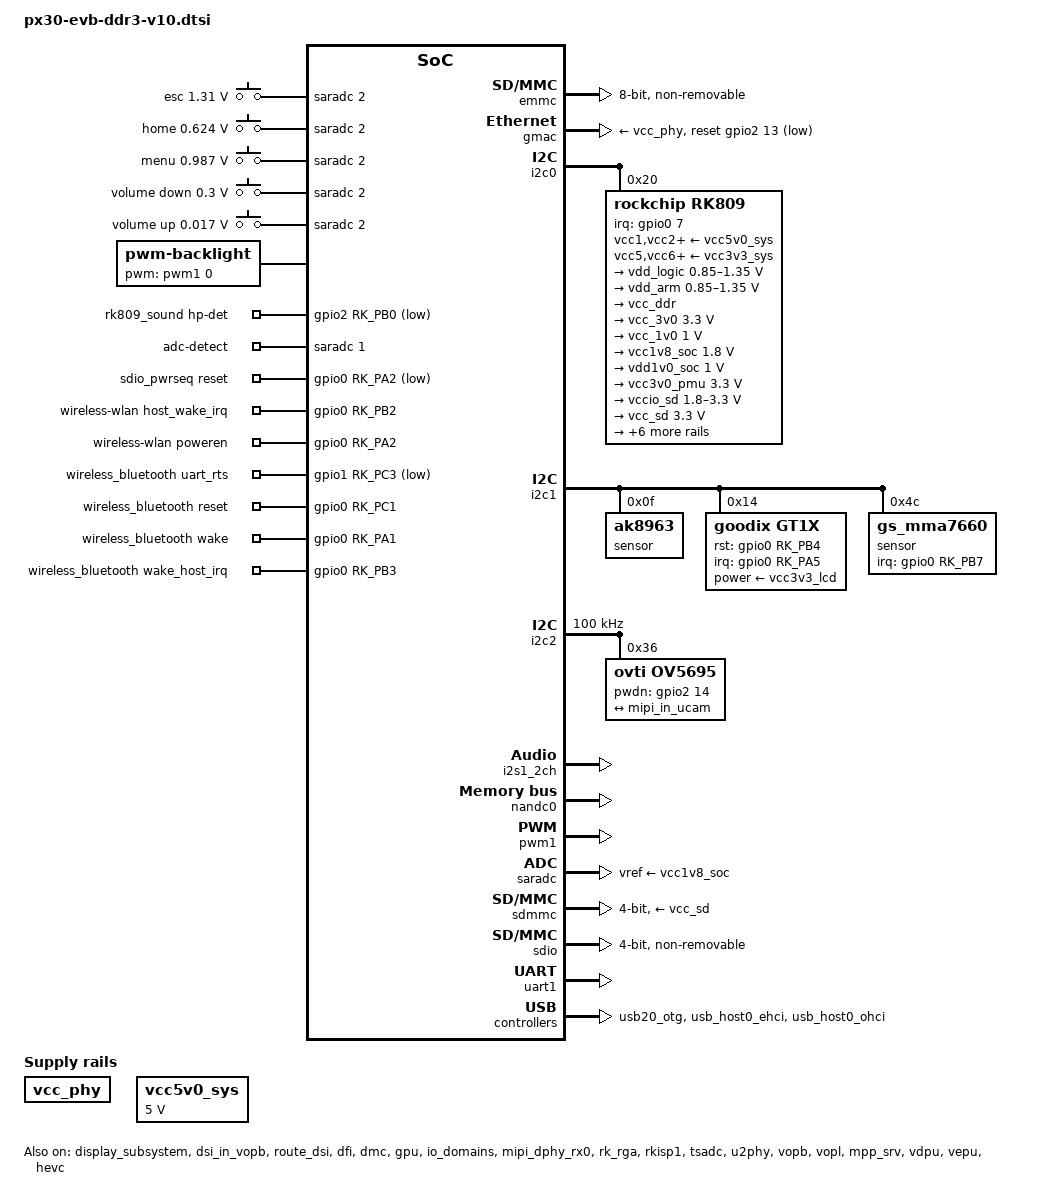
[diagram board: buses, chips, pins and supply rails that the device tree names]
// SPDX-License-Identifier: (GPL-2.0+ OR MIT)
/*
 * Copyright (c) 2017-2019 Fuzhou Rockchip Electronics Co., Ltd
 */

#include <dt-bindings/gpio/gpio.h>
#include <dt-bindings/pinctrl/rockchip.h>
#include <dt-bindings/input/input.h>
#include <dt-bindings/display/drm_mipi_dsi.h>
#include <dt-bindings/sensor-dev.h>

/ {
	adc-keys {
		compatible = "adc-keys";
		io-channels = <&saradc 2>;
		io-channel-names = "buttons";
		poll-interval = <100>;
		keyup-threshold-microvolt = <1800000>;

		esc-key {
			linux,code = <KEY_ESC>;
			label = "esc";
			press-threshold-microvolt = <1310000>;
		};

		home-key {
			linux,code = <KEY_HOME>;
			label = "home";
			press-threshold-microvolt = <624000>;
		};

		menu-key {
			linux,code = <KEY_MENU>;
			label = "menu";
			press-threshold-microvolt = <987000>;
		};

		vol-down-key {
			linux,code = <KEY_VOLUMEDOWN>;
			label = "volume down";
			press-threshold-microvolt = <300000>;
		};

		vol-up-key {
			linux,code = <KEY_VOLUMEUP>;
			label = "volume up";
			press-threshold-microvolt = <17000>;
		};
	};

	backlight: backlight {
		compatible = "pwm-backlight";
		pwms = <&pwm1 0 25000 0>;
		brightness-levels = <
			  0   1   2   3   4   5   6   7
			  8   9  10  11  12  13  14  15
			 16  17  18  19  20  21  22  23
			 24  25  26  27  28  29  30  31
			 32  33  34  35  36  37  38  39
			 40  41  42  43  44  45  46  47
			 48  49  50  51  52  53  54  55
			 56  57  58  59  60  61  62  63
			 64  65  66  67  68  69  70  71
			 72  73  74  75  76  77  78  79
			 80  81  82  83  84  85  86  87
			 88  89  90  91  92  93  94  95
			 96  97  98  99 100 101 102 103
			104 105 106 107 108 109 110 111
			112 113 114 115 116 117 118 119
			120 121 122 123 124 125 126 127
			128 129 130 131 132 133 134 135
			136 137 138 139 140 141 142 143
			144 145 146 147 148 149 150 151
			152 153 154 155 156 157 158 159
			160 161 162 163 164 165 166 167
			168 169 170 171 172 173 174 175
			176 177 178 179 180 181 182 183
			184 185 186 187 188 189 190 191
			192 193 194 195 196 197 198 199
			200 201 202 203 204 205 206 207
			208 209 210 211 212 213 214 215
			216 217 218 219 220 221 222 223
			224 225 226 227 228 229 230 231
			232 233 234 235 236 237 238 239
			240 241 242 243 244 245 246 247
			248 249 250 251 252 253 254 255>;
		default-brightness-level = <200>;
	};

	charge-animation {
		compatible = "rockchip,uboot-charge";
		rockchip,uboot-charge-on = <0>;
		rockchip,android-charge-on = <1>;
		rockchip,uboot-low-power-voltage = <3500>;
		rockchip,screen-on-voltage = <3600>;
		status = "okay";
	};

	rk809_sound: rk809-sound {
		status = "okay";
		compatible = "rockchip,multicodecs-card";
		rockchip,card-name = "rockchip-rk809";
		hp-det-gpio = <&gpio2 RK_PB0 GPIO_ACTIVE_LOW>;
		io-channels = <&saradc 1>;
		io-channel-names = "adc-detect";
		keyup-threshold-microvolt = <1800000>;
		poll-interval = <100>;
		rockchip,format = "i2s";
		rockchip,mclk-fs = <256>;
		rockchip,cpu = <&i2s1_2ch>;
		rockchip,codec = <&rk809_codec>;
		pinctrl-names = "default";
		pinctrl-0 = <&hp_det>;
		play-pause-key {
			label = "playpause";
			linux,code = <KEY_PLAYPAUSE>;
			press-threshold-microvolt = <2000>;
		};
	};

	sdio_pwrseq: sdio-pwrseq {
		compatible = "mmc-pwrseq-simple";
		/*clocks = <&rk809 1>;*/
		/*clock-names = "ext_clock";*/
		pinctrl-names = "default";
		pinctrl-0 = <&wifi_enable_h>;

		/*
		 * On the module itself this is one of these (depending
		 * on the actual card populated):
		 * - SDIO_RESET_L_WL_REG_ON
		 * - PDN (power down when low)
		 */
		reset-gpios = <&gpio0 RK_PA2 GPIO_ACTIVE_LOW>; /* GPIO3_A4 */
	};

	test-power {
		status = "okay";
	};

	vcc_phy: vcc-phy-regulator {
		compatible = "regulator-fixed";
		regulator-name = "vcc_phy";
		regulator-always-on;
		regulator-boot-on;
	};

	vcc5v0_sys: vccsys {
		compatible = "regulator-fixed";
		regulator-name = "vcc5v0_sys";
		regulator-always-on;
		regulator-boot-on;
		regulator-min-microvolt = <5000000>;
		regulator-max-microvolt = <5000000>;
	};

	wireless-wlan {
		compatible = "wlan-platdata";
		wifi_chip_type = "AP6210";
		WIFI,host_wake_irq = <&gpio0 RK_PB2 GPIO_ACTIVE_HIGH>;
		WIFI,poweren_gpio = <&gpio0 RK_PA2 GPIO_ACTIVE_HIGH>;
		status = "okay";
	};

	wireless_bluetooth: wireless-bluetooth {
		compatible = "bluetooth-platdata";
		clocks = <&rk809 1>;
		clock-names = "ext_clock";
		uart_rts_gpios = <&gpio1 RK_PC3 GPIO_ACTIVE_LOW>;
		pinctrl-names = "default","rts_gpio";
		pinctrl-0 = <&uart1_rts>;
		pinctrl-1 = <&uart1_rts_gpio>;
		BT,reset_gpio = <&gpio0 RK_PC1 GPIO_ACTIVE_HIGH>;
		BT,wake_gpio = <&gpio0 RK_PA1 GPIO_ACTIVE_HIGH>;
		BT,wake_host_irq = <&gpio0 RK_PB3 GPIO_ACTIVE_HIGH>;
		status = "okay";
	};
};

&display_subsystem {
	status = "okay";
};

&dsi_in_vopb {
	status = "okay";
};

&dsi_in_vopl {
	status = "disabled";
};

&route_dsi {
	connect = <&vopb_out_dsi>;
	status = "okay";
};

&bus_apll {
	bus-supply = <&vdd_logic>;
	status = "okay";
};

&cpu0 {
	cpu-supply = <&vdd_arm>;
};

&dfi {
	status = "okay";
};

&dmc {
	center-supply = <&vdd_logic>;
	status = "okay";
};

&emmc {
	bus-width = <8>;
	cap-mmc-highspeed;
	mmc-hs200-1_8v;
	no-sdio;
	no-sd;
	disable-wp;
	non-removable;
	num-slots = <1>;
	status = "okay";
};

&gmac {
	phy-supply = <&vcc_phy>;
	clock_in_out = "input";
	assigned-clocks = <&cru SCLK_GMAC>;
	assigned-clock-parents = <&gmac_clkin>;
	pinctrl-names = "default";
	pinctrl-0 = <&rmii_pins &mac_refclk>;
	snps,reset-gpio = <&gpio2 13 GPIO_ACTIVE_LOW>;
	snps,reset-active-low;
	snps,reset-delays-us = <0 50000 50000>;
	status = "okay";
};

&gpu {
	mali-supply = <&vdd_logic>;
	status = "okay";
};

&i2c0 {
	status = "okay";

	rk809: pmic@20 {
		compatible = "rockchip,rk809";
		reg = <0x20>;
		interrupt-parent = <&gpio0>;
		interrupts = <7 IRQ_TYPE_LEVEL_LOW>;
		pinctrl-names = "default", "pmic-sleep",
				"pmic-power-off", "pmic-reset";
		pinctrl-0 = <&pmic_int>;
		pinctrl-1 = <&soc_slppin_slp>, <&rk817_slppin_slp>;
		pinctrl-2 = <&soc_slppin_gpio>, <&rk817_slppin_pwrdn>;
		pinctrl-3 = <&soc_slppin_rst>, <&rk817_slppin_rst>;
		rockchip,system-power-controller;
		wakeup-source;
		#clock-cells = <1>;
		clock-output-names = "rk808-clkout1", "rk808-clkout2";
		//fb-inner-reg-idxs = <2>;
		/* 1: rst regs (default in codes), 0: rst the pmic */
		pmic-reset-func = <1>;

		vcc1-supply = <&vcc5v0_sys>;
		vcc2-supply = <&vcc5v0_sys>;
		vcc3-supply = <&vcc5v0_sys>;
		vcc4-supply = <&vcc5v0_sys>;
		vcc5-supply = <&vcc3v3_sys>;
		vcc6-supply = <&vcc3v3_sys>;
		vcc7-supply = <&vcc3v3_sys>;
		vcc8-supply = <&vcc3v3_sys>;
		vcc9-supply = <&vcc5v0_sys>;

		pwrkey {
			status = "okay";
		};

		pinctrl_rk8xx: pinctrl_rk8xx {
			gpio-controller;
			#gpio-cells = <2>;

			rk817_slppin_null: rk817_slppin_null {
				pins = "gpio_slp";
				function = "pin_fun0";
			};

			rk817_slppin_slp: rk817_slppin_slp {
				pins = "gpio_slp";
				function = "pin_fun1";
			};

			rk817_slppin_pwrdn: rk817_slppin_pwrdn {
				pins = "gpio_slp";
				function = "pin_fun2";
			};

			rk817_slppin_rst: rk817_slppin_rst {
				pins = "gpio_slp";
				function = "pin_fun3";
			};
		};

		regulators {
			vdd_logic: DCDC_REG1 {
				regulator-always-on;
				regulator-boot-on;
				regulator-min-microvolt = <850000>;
				regulator-max-microvolt = <1350000>;
				regulator-ramp-delay = <6001>;
				regulator-initial-mode = <0x2>;
				regulator-name = "vdd_logic";
				regulator-state-mem {
					regulator-on-in-suspend;
					regulator-suspend-microvolt = <950000>;
				};
			};

			vdd_arm: DCDC_REG2 {
				regulator-always-on;
				regulator-boot-on;
				regulator-min-microvolt = <850000>;
				regulator-max-microvolt = <1350000>;
				regulator-ramp-delay = <6001>;
				regulator-initial-mode = <0x2>;
				regulator-name = "vdd_arm";
				regulator-state-mem {
					regulator-off-in-suspend;
					regulator-suspend-microvolt = <950000>;
				};
			};

			vcc_ddr: DCDC_REG3 {
				regulator-always-on;
				regulator-boot-on;
				regulator-name = "vcc_ddr";
				regulator-initial-mode = <0x2>;
				regulator-state-mem {
					regulator-on-in-suspend;
				};
			};

			vcc_3v0: DCDC_REG4 {
				regulator-always-on;
				regulator-boot-on;
				regulator-min-microvolt = <3300000>;
				regulator-max-microvolt = <3300000>;
				regulator-initial-mode = <0x2>;
				regulator-name = "vcc_3v0";
				regulator-state-mem {
					regulator-on-in-suspend;
					regulator-suspend-microvolt = <3300000>;
				};
			};

			vcc_1v0: LDO_REG1 {
				regulator-always-on;
				regulator-boot-on;
				regulator-min-microvolt = <1000000>;
				regulator-max-microvolt = <1000000>;
				regulator-name = "vcc_1v0";
				regulator-state-mem {
					regulator-on-in-suspend;
					regulator-suspend-microvolt = <1000000>;
				};
			};

			vcc1v8_soc: LDO_REG2 {
				regulator-always-on;
				regulator-boot-on;
				regulator-min-microvolt = <1800000>;
				regulator-max-microvolt = <1800000>;

				regulator-name = "vcc1v8_soc";
				regulator-state-mem {
					regulator-on-in-suspend;
					regulator-suspend-microvolt = <1800000>;
				};
			};

			vdd1v0_soc: LDO_REG3 {
				regulator-always-on;
				regulator-boot-on;
				regulator-min-microvolt = <1000000>;
				regulator-max-microvolt = <1000000>;

				regulator-name = "vcc1v0_soc";
				regulator-state-mem {
					regulator-on-in-suspend;
					regulator-suspend-microvolt = <1000000>;
				};
			};

			vcc3v0_pmu: LDO_REG4 {
				regulator-always-on;
				regulator-boot-on;
				regulator-min-microvolt = <3300000>;
				regulator-max-microvolt = <3300000>;

				regulator-name = "vcc3v0_pmu";
				regulator-state-mem {
					regulator-on-in-suspend;
					regulator-suspend-microvolt = <3300000>;

				};
			};

			vccio_sd: LDO_REG5 {
				regulator-always-on;
				regulator-boot-on;
				regulator-min-microvolt = <1800000>;
				regulator-max-microvolt = <3300000>;

				regulator-name = "vccio_sd";
				regulator-state-mem {
					regulator-on-in-suspend;
					regulator-suspend-microvolt = <3300000>;
				};
			};

			vcc_sd: LDO_REG6 {
				regulator-min-microvolt = <3300000>;
				regulator-max-microvolt = <3300000>;

				regulator-name = "vcc_sd";
				regulator-state-mem {
					regulator-on-in-suspend;
					regulator-suspend-microvolt = <3300000>;

				};
			};

			vcc2v8_dvp: LDO_REG7 {
				regulator-always-on;
				regulator-boot-on;
				regulator-min-microvolt = <2800000>;
				regulator-max-microvolt = <2800000>;

				regulator-name = "vcc2v8_dvp";
				regulator-state-mem {
					regulator-off-in-suspend;
					regulator-suspend-microvolt = <2800000>;
				};
			};

			vcc1v8_dvp: LDO_REG8 {
				regulator-always-on;
				regulator-boot-on;
				regulator-min-microvolt = <1800000>;
				regulator-max-microvolt = <1800000>;

				regulator-name = "vcc1v8_dvp";
				regulator-state-mem {
					regulator-on-in-suspend;
					regulator-suspend-microvolt = <1800000>;
				};
			};

			vdd1v5_dvp: LDO_REG9 {
				regulator-always-on;
				regulator-boot-on;
				regulator-min-microvolt = <1500000>;
				regulator-max-microvolt = <1500000>;

				regulator-name = "vdd1v5_dvp";
				regulator-state-mem {
					regulator-off-in-suspend;
					regulator-suspend-microvolt = <1500000>;
				};
			};

			vcc3v3_sys: DCDC_REG5 {
				regulator-always-on;
				regulator-boot-on;
				regulator-min-microvolt = <3300000>;
				regulator-max-microvolt = <3300000>;
				regulator-name = "vcc3v3_sys";
				regulator-state-mem {
					regulator-on-in-suspend;
					regulator-suspend-microvolt = <3300000>;
				};
			};

			vcc5v0_host: SWITCH_REG2 {
				regulator-always-on;
				regulator-boot-on;
				regulator-name = "vcc5v0_host";
			};

			vcc3v3_lcd: SWITCH_REG1 {
				regulator-boot-on;
				regulator-name = "vcc3v3_lcd";
			};
		};

		rk809_codec: codec {
			#sound-dai-cells = <0>;
			compatible = "rockchip,rk809-codec", "rockchip,rk817-codec";
			clocks = <&cru SCLK_I2S1_OUT>;
			clock-names = "mclk";
			pinctrl-names = "default";
			pinctrl-0 = <&i2s1_2ch_mclk>;
			hp-volume = <20>;
			spk-volume = <3>;
			status = "okay";
		};
	};
};

&i2c1 {
	status = "okay";

	sensor@f {
		status = "okay";
		compatible = "ak8963";
		reg = <0x0f>;
		type = <SENSOR_TYPE_COMPASS>;
		irq_enable = <0>;
		poll_delay_ms = <30>;
		layout = <1>;
		reprobe_en = <1>;
	};

	gt1x: gt1x@14 {
		compatible = "goodix,gt1x";
		reg = <0x14>;
		power-supply = <&vcc3v3_lcd>;
		goodix,rst-gpio = <&gpio0 RK_PB4 GPIO_ACTIVE_HIGH>;
		goodix,irq-gpio = <&gpio0 RK_PA5 IRQ_TYPE_LEVEL_LOW>;
	};

	sensor@4c {
		status = "okay";
		compatible = "gs_mma7660";
		reg = <0x4c>;
		type = <SENSOR_TYPE_ACCEL>;
		irq-gpio = <&gpio0 RK_PB7 IRQ_TYPE_LEVEL_LOW>;
		irq_enable = <0>;
		poll_delay_ms = <30>;
		layout = <8>;
		reprobe_en = <1>;
	};
};

&i2c2 {
	status = "okay";

	clock-frequency = <100000>;

	/* These are relatively safe rise/fall times; TODO: measure */
	i2c-scl-falling-time-ns = <50>;
	i2c-scl-rising-time-ns = <300>;

	ov5695: ov5695@36 {
		compatible = "ovti,ov5695";
		reg = <0x36>;
		clocks = <&cru SCLK_CIF_OUT>;
		clock-names = "xvclk";
		/*reset-gpios = <&gpio2 14 GPIO_ACTIVE_HIGH>;*/
		pwdn-gpios = <&gpio2 14 GPIO_ACTIVE_HIGH>;
		pinctrl-names = "default";
		pinctrl-0 = <&cif_clkout_m0>;
		rockchip,camera-module-index = <0>;
		rockchip,camera-module-facing = "back";
		rockchip,camera-module-name = "TongJu";
		rockchip,camera-module-lens-name = "CHT842-MD";
		port {
			ucam_out: endpoint {
				remote-endpoint = <&mipi_in_ucam>;
				data-lanes = <1 2>;
			};
		};
	};
};

&i2s1_2ch {
	status = "okay";
	#sound-dai-cells = <0>;
};

&io_domains {
	status = "okay";

	vccio1-supply = <&vcc1v8_soc>;
	vccio2-supply = <&vccio_sd>;
	vccio3-supply = <&vcc_3v0>;
	vccio4-supply = <&vcc3v0_pmu>;
	vccio5-supply = <&vcc_3v0>;
};

&isp_mmu {
	status = "okay";
};

&mipi_dphy_rx0 {
	status = "okay";

	ports {
		#address-cells = <1>;
		#size-cells = <0>;

		port@0 {
			reg = <0>;
			#address-cells = <1>;
			#size-cells = <0>;

			mipi_in_ucam: endpoint@1 {
				reg = <1>;
				remote-endpoint = <&ucam_out>;
				data-lanes = <1 2>;
			};
		};

		port@1 {
			reg = <1>;
			#address-cells = <1>;
			#size-cells = <0>;

			dphy_rx0_out: endpoint@0 {
				reg = <0>;
				remote-endpoint = <&isp0_mipi_in>;
			};
		};
	};
};

&nandc0 {
	status = "okay";
};

&pinctrl {
	headphone {
		hp_det: hp-det {
			rockchip,pins = <2 RK_PB0 RK_FUNC_GPIO &pcfg_pull_down>;
		};
	};

	pmic {
		pmic_int: pmic_int {
			rockchip,pins =
				<0 RK_PA7 RK_FUNC_GPIO &pcfg_pull_up>;
		};

		soc_slppin_gpio: soc_slppin_gpio {
			rockchip,pins =
				<0 RK_PA4 RK_FUNC_GPIO &pcfg_output_low>;
		};

		soc_slppin_slp: soc_slppin_slp {
			rockchip,pins =
				<0 RK_PA4 1 &pcfg_pull_none>;
		};

		soc_slppin_rst: soc_slppin_rst {
			rockchip,pins =
				<0 RK_PA4 2 &pcfg_pull_none>;
		};
	};

	sdio-pwrseq {
		wifi_enable_h: wifi-enable-h {
			rockchip,pins = <0 RK_PA2 RK_FUNC_GPIO &pcfg_pull_none>;
		};
	};
};

&pmu_io_domains {
	status = "okay";

	pmuio1-supply = <&vcc3v0_pmu>;
	pmuio2-supply = <&vcc3v0_pmu>;
};

&pwm1 {
	status = "okay";
};

&rk_rga {
	status = "okay";
};

&rkisp1 {
	status = "okay";

	port {
		#address-cells = <1>;
		#size-cells = <0>;

		isp0_mipi_in: endpoint@0 {
			reg = <0>;
			remote-endpoint = <&dphy_rx0_out>;
		};
	};
};

&rockchip_suspend {
	status = "okay";
	rockchip,sleep-debug-en = <1>;
};

&saradc {
	status = "okay";
	vref-supply = <&vcc1v8_soc>;
};

&sdmmc {
	bus-width = <4>;
	cap-mmc-highspeed;
	cap-sd-highspeed;
	no-sdio;
	no-mmc;
	card-detect-delay = <800>;
	ignore-pm-notify;
	/*cd-gpios = <&gpio2 4 GPIO_ACTIVE_HIGH>; [> CD GPIO <]*/
	sd-uhs-sdr12;
	sd-uhs-sdr25;
	sd-uhs-sdr50;
	sd-uhs-sdr104;
	vqmmc-supply = <&vccio_sd>;
	vmmc-supply = <&vcc_sd>;
	status = "okay";
};

&sdio {
	bus-width = <4>;
	cap-sd-highspeed;
	no-sd;
	no-mmc;
	ignore-pm-notify;
	keep-power-in-suspend;
	non-removable;
	mmc-pwrseq = <&sdio_pwrseq>;
	sd-uhs-sdr104;
	status = "okay";
};

&tsadc {
	pinctrl-names = "gpio", "otpout";
	pinctrl-0 = <&tsadc_otp_pin>;
	pinctrl-1 = <&tsadc_otp_out>;
	status = "okay";
};

&uart1 {
	pinctrl-names = "default";
	pinctrl-0 = <&uart1_xfer &uart1_cts>;
	status = "okay";
};

&u2phy {
	status = "okay";

	u2phy_host: host-port {
		status = "okay";
	};

	u2phy_otg: otg-port {
		status = "okay";
	};
};

&usb20_otg {
	status = "okay";
};

&usb_host0_ehci {
	status = "okay";
};

&usb_host0_ohci {
	status = "okay";
};

&vopb {
	status = "okay";
};

&vopb_mmu {
	status = "okay";
};

&vopl {
	status = "okay";
};

&vopl_mmu {
	status = "okay";
};

&mpp_srv {
	status = "okay";
};

&vdpu {
	status = "okay";
};

&vepu {
	status = "okay";
};

&vpu_mmu {
	status = "okay";
};

&hevc {
	status = "okay";
};

&hevc_mmu {
	status = "okay";
};
